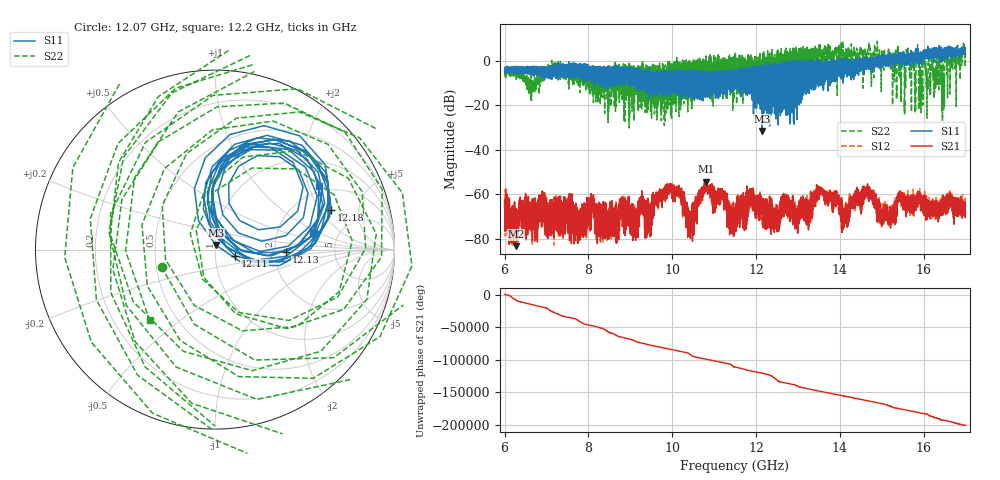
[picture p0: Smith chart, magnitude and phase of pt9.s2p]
#  HZ  S  RI  R  50.00
! Rohde & Schwarz Vector Network Analyzer
! Rohde-Schwarz,ZNA67-2Port,1332450062101215,3.01
! Created: UTC 10/26/2026, 4:22:49 PM
! freq[Hz]  re:S11  im:S11  re:S21  im:S21  re:S12  im:S12  re:S22  im:S22
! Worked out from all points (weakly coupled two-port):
!   11001 points, 6 GHz to 17 GHz, reference 50 ohm
!   highest |S21| = -54.43 dB at 10.8 GHz (marker M1); lowest = -83.4 dB at 6.272 GHz (marker M2)
!   lowest |S11| = -31.6 dB at 12.14 GHz (marker M3), VSWR 1.05, Z = 50.3 + j2.61 ohm
!   |S11| at or under -10 dB: 9.505898 GHz to 9.510179 GHz (4.281 MHz wide, 0.045 % of centre); 10.70559 GHz to 10.71012 GHz (4.53 MHz wide, 0.0423 % of centre); 10.72876 GHz to 10.73312 GHz (4.362 MHz wide, 0.0406 % of centre) (the widest 3 of 439)
!   |S22| runs from -30.2 to 9.1 dB; largest |S21 - S12| = 0.0011
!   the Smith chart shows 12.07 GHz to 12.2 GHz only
!   S11 on the Smith chart (normalised r, x): 12.07 GHz: 3.26, +0.88; 12.11 GHz: 1.25, -0.09; 12.13 GHz: 2.31, -0.08; 12.18 GHz: 3.09, +2.55; 12.2 GHz: 1.77, +2.35
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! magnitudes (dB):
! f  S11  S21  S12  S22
! 6 GHz  -4.9  -65.7  -65.9  -4.9
! 6.272 GHz  -3.0  -83.4  -81.5  -3.8
! 6.892 GHz  -3.1  -66.6  -66.1  -5.8
! 7.834 GHz  -1.9  -68.0  -67.9  -4.6
! 9.126 GHz  -6.2  -77.3  -74.5  -6.7
! 9.667 GHz  -6.0  -62.7  -62.6  -2.6
! 10.15 GHz  -3.9  -58.8  -59.1  -2.3
! 10.42 GHz  -5.1  -71.0  -70.1  -0.2
! 10.8 GHz  -11.7  -54.4  -54.6  -6.5
! 11.5 GHz  -11.3  -71.8  -72.4  -0.6
! 12.07 GHz  -5.1  -63.5  -62.7  -10.1
! 12.11 GHz  -18.5  -64.7  -65.3  -2.9
! 12.13 GHz  -8.1  -64.8  -63.6  -5.1
! 12.14 GHz  -31.6  -62.3  -62.5  -6.0
! 12.18 GHz  -3.3  -75.2  -72.7  -2.4
! 12.2 GHz  -3.3  -64.9  -65.4  -5.4
! 13.33 GHz  -2.3  -64.5  -64.6  -0.1
! 14.12 GHz  -0.8  -71.7  -70.1  1.2
! 14.63 GHz  -3.4  -58.9  -58.1  3.2
! 15.17 GHz  2.0  -71.2  -69.9  5.2
! 15.93 GHz  2.3  -67.6  -67.8  -5.2
! 17 GHz  5.8  -67.7  -65.3  2.9
